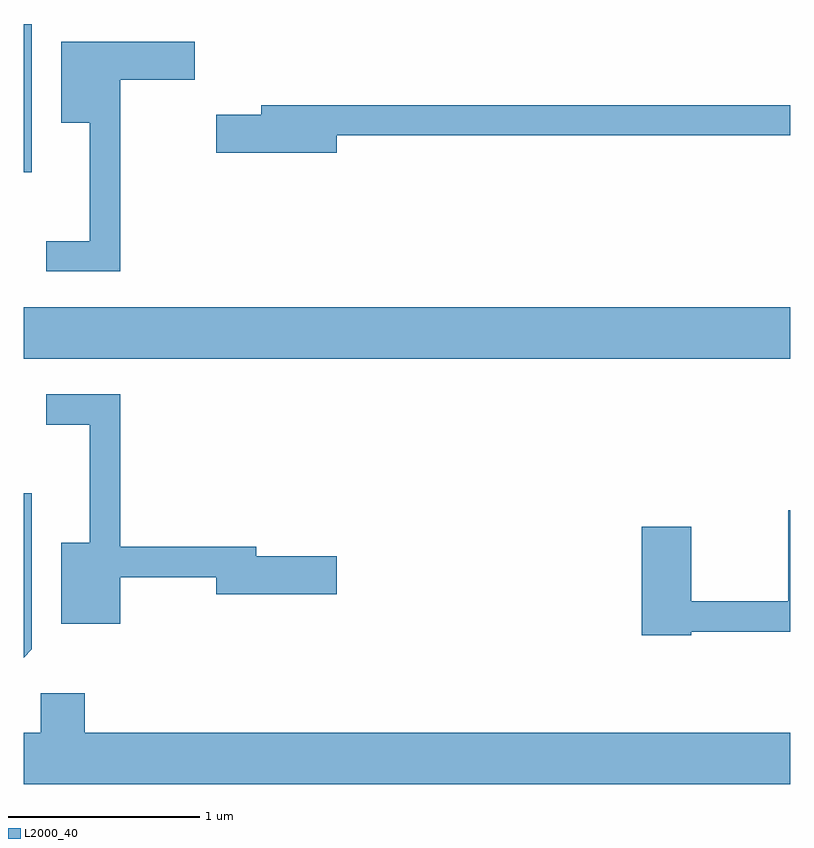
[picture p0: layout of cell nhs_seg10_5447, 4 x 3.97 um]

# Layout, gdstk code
import gdstk
lib = gdstk.Library(unit=1e-6, precision=1e-09)
def R(c, l, rs):  # rectangles x0, y0, x1, y1
    for r in rs: c.add(gdstk.rectangle(r[:2], r[2:], *l))
def P(c, l, *ps):  # polygons
    for p in ps: c.add(gdstk.Polygon(p, *l))
L2000_40 = (2000, 40)

nhs_seg10_5447 = lib.new_cell('nhs_seg10_5447')
R(nhs_seg10_5447, L2000_40, [(345.611,2142.776,349.611,2143.044), (345.611,2143.748,345.654,2144.522)])
P(nhs_seg10_5447, L2000_40, [(346.114,2144.231),(346.504,2144.231),(346.504,2144.429),(345.806,2144.429),(345.806,2144.006),(345.956,2144.006),(345.956,2143.389),(345.728,2143.389),(345.728,2143.231),(346.114,2143.231)],
  [(347.244,2143.941),(349.611,2143.941),(349.611,2144.099),(346.851,2144.099),(346.851,2144.049),(346.616,2144.049),(346.616,2143.851),(347.244,2143.851)],
  [(346.114,2141.636),(346.616,2141.636),(346.616,2141.546),(347.244,2141.546),(347.244,2141.744),(346.824,2141.744),(346.824,2141.794),(346.114,2141.794),(346.114,2142.589),(345.728,2142.589),(345.728,2142.431),(345.956,2142.431),(345.956,2141.814),(345.806,2141.814),(345.806,2141.391),(346.114,2141.391)],
  [(345.654,2141.259),(345.654,2142.073),(345.611,2142.073),(345.611,2141.216)],
  [(349.094,2141.351),(349.611,2141.351),(349.611,2141.984),(349.601,2141.984),(349.601,2141.509),(349.094,2141.509),(349.094,2141.899),(348.836,2141.899),(348.836,2141.331),(349.094,2141.331)],
  [(349.611,2140.824),(345.929,2140.824),(345.929,2141.029),(345.701,2141.029),(345.701,2140.824),(345.611,2140.824),(345.611,2140.556),(349.611,2140.556)])

lib.write_gds('nhs_seg10_5447.gds')
